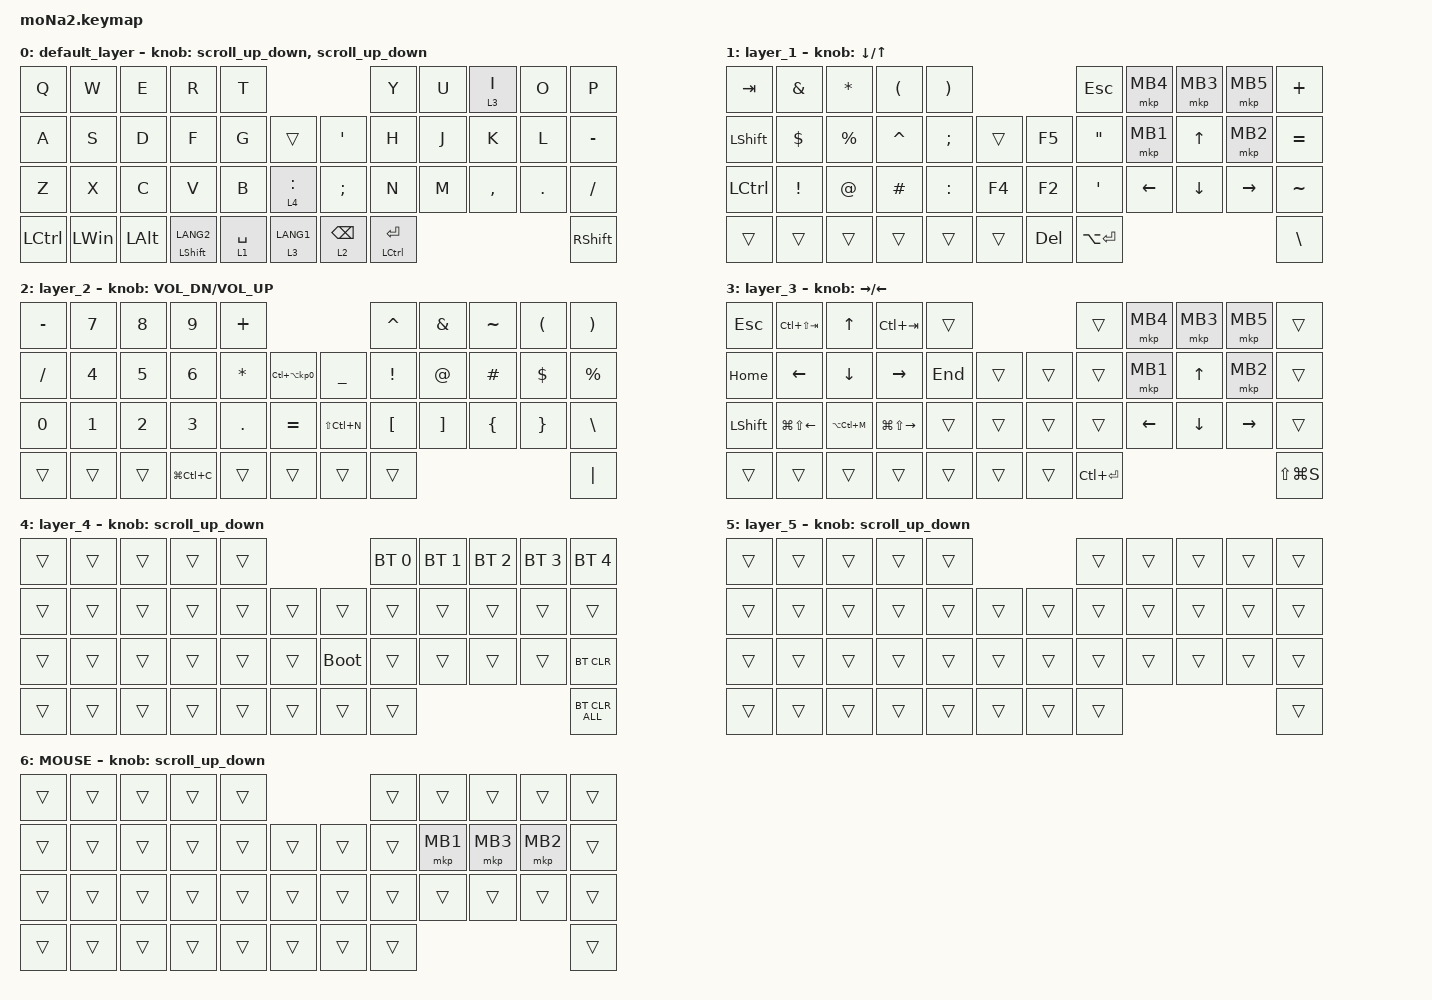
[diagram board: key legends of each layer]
#include <behaviors.dtsi>
#include <dt-bindings/zmk/bt.h>
#include <dt-bindings/zmk/keys.h>
#include <dt-bindings/zmk/pointing.h>

#define ZMK_POINTING_DEFAULT_SCRL_VAL 100
#define MOUSE 6

&mt {
    flavor = "balanced";
    quick-tap-ms = <0>;
};

/ {
    combos { compatible = "zmk,combos"; };

    macros {
        to_layer_0: to_layer_0 {
            compatible = "zmk,behavior-macro-one-param";
            #binding-cells = <1>;
            bindings = <&to 0 &macro_param_1to1 &kp MACRO_PLACEHOLDER>;
            label = "TO_LAYER_0";
        };
    };

    behaviors {
        lt_to_layer_0: lt_to_layer_0 {
            compatible = "zmk,behavior-hold-tap";
            label = "LAYER_TAP_TO_0";
            bindings = <&mo>, <&to_layer_0>;

            #binding-cells = <2>;
            tapping-term-ms = <120>;
        };

        scroll_up_down: behavior_sensor_rotate_mouse_wheel_up_down {
            compatible = "zmk,behavior-sensor-rotate";
            #sensor-binding-cells = <0>;
            bindings = <&msc SCRL_DOWN>, <&msc SCRL_UP>;

            tap-ms = <20>;
        };
    };

    keymap {
        compatible = "zmk,keymap";

        default_layer {
            bindings = <
&kp Q      &kp W         &kp E         &kp R                 &kp T                                        &kp Y            &kp U  &lt 3 I    &kp O    &kp P
&kp A      &kp S         &kp D         &kp F                 &kp G        &trans         &kp SQT          &kp H            &kp J  &kp K      &kp L    &kp MINUS
&kp Z      &kp X         &kp C         &kp V                 &kp B        &lt 4 COLON    &kp SEMICOLON    &kp N            &kp M  &kp COMMA  &kp DOT  &kp SLASH
&kp LCTRL  &kp LEFT_WIN  &kp LEFT_ALT  &mt LEFT_SHIFT LANG2  &lt 1 SPACE  &lt 3 LANG1    &lt 2 BACKSPACE  &mt LCTRL ENTER                             &kp RIGHT_SHIFT
            >;

            sensor-bindings = <&scroll_up_down>, <&scroll_up_down>;
        };

        layer_1 {
            bindings = <
&kp TAB           &kp AMPERSAND    &kp ASTERISK  &kp LEFT_PARENTHESIS  &kp RIGHT_PARENTHESIS                        &kp ESCAPE         &mkp MB4        &mkp MB3        &mkp MB5         &kp PLUS
&kp LEFT_SHIFT    &kp DOLLAR       &kp PERCENT   &kp CARET             &kp SEMICOLON          &trans    &kp F5      &kp DOUBLE_QUOTES  &mkp MB1        &kp UP_ARROW    &mkp MB2         &kp EQUAL
&kp LEFT_CONTROL  &kp EXCLAMATION  &kp AT_SIGN   &kp HASH              &kp COLON              &kp F4    &kp F2      &kp SQT            &kp LEFT_ARROW  &kp DOWN_ARROW  &kp RIGHT_ARROW  &kp TILDE
&trans            &trans           &trans        &trans                &trans                 &trans    &kp DELETE  &kp LA(ENTER)                                                       &kp BACKSLASH
            >;

            sensor-bindings = <&inc_dec_kp DOWN_ARROW UP_ARROW>;
        };

        layer_2 {
            bindings = <
&kp MINUS  &kp N7        &kp N8        &kp N9         &kp PLUS                                                 &kp CARET         &kp AMPERSAND      &kp TILDE       &kp LEFT_PARENTHESIS  &kp RIGHT_PARENTHESIS
&kp SLASH  &kp NUMBER_4  &kp N5        &kp NUMBER_6   &kp ASTERISK  &kp LC(LA(KP_NUMBER_0))    &kp UNDERSCORE  &kp EXCLAMATION   &kp AT_SIGN        &kp HASH        &kp DOLLAR            &kp PERCENT
&kp N0     &kp NUMBER_1  &kp NUMBER_2  &kp NUMBER_3   &kp PERIOD    &kp EQUAL                  &kp LS(LC(N))   &kp LEFT_BRACKET  &kp RIGHT_BRACKET  &kp LEFT_BRACE  &kp RIGHT_BRACE       &kp BACKSLASH
&trans     &trans        &trans        &kp LG(LC(C))  &trans        &trans                     &trans          &trans                                                                     &kp PIPE
            >;

            sensor-bindings = <&inc_dec_kp C_VOL_DN C_VOL_UP>;
        };

        layer_3 {
            bindings = <
&kp ESCAPE      &kp LC(LS(TAB))         &kp UP_ARROW    &kp LC(TAB)              &trans                     &trans         &mkp MB4        &mkp MB3        &mkp MB5         &trans
&kp HOME        &kp LEFT_ARROW          &kp DOWN_ARROW  &kp RIGHT_ARROW          &kp END  &trans    &trans  &trans         &mkp MB1        &kp UP_ARROW    &mkp MB2         &trans
&kp LEFT_SHIFT  &kp LG(LS(LEFT_ARROW))  &kp LA(LC(M))   &kp LG(LS(RIGHT_ARROW))  &trans   &trans    &trans  &trans         &kp LEFT_ARROW  &kp DOWN_ARROW  &kp RIGHT_ARROW  &trans
&trans          &trans                  &trans          &trans                   &trans   &trans    &trans  &kp LC(ENTER)                                                   &kp LS(LG(S))
            >;

            sensor-bindings = <&inc_dec_kp RIGHT_ARROW LEFT_ARROW>;
        };

        layer_4 {
            bindings = <
&trans  &trans  &trans  &trans  &trans                         &bt BT_SEL 0  &bt BT_SEL 1  &bt BT_SEL 2  &bt BT_SEL 3  &bt BT_SEL 4
&trans  &trans  &trans  &trans  &trans  &trans    &trans       &trans        &trans        &trans        &trans        &trans
&trans  &trans  &trans  &trans  &trans  &trans    &bootloader  &trans        &trans        &trans        &trans        &bt BT_CLR
&trans  &trans  &trans  &trans  &trans  &trans    &trans       &trans                                                  &bt BT_CLR_ALL
            >;

            sensor-bindings = <&scroll_up_down>;
        };

        layer_5 {
            bindings = <
&trans  &trans  &trans  &trans  &trans                    &trans  &trans  &trans  &trans  &trans
&trans  &trans  &trans  &trans  &trans  &trans    &trans  &trans  &trans  &trans  &trans  &trans
&trans  &trans  &trans  &trans  &trans  &trans    &trans  &trans  &trans  &trans  &trans  &trans
&trans  &trans  &trans  &trans  &trans  &trans    &trans  &trans                          &trans
            >;

            sensor-bindings = <&scroll_up_down>;
        };

        MOUSE {
            bindings = <
&trans  &trans  &trans  &trans  &trans                    &trans  &trans    &trans    &trans    &trans
&trans  &trans  &trans  &trans  &trans  &trans    &trans  &trans  &mkp MB1  &mkp MB3  &mkp MB2  &trans
&trans  &trans  &trans  &trans  &trans  &trans    &trans  &trans  &trans    &trans    &trans    &trans
&trans  &trans  &trans  &trans  &trans  &trans    &trans  &trans                                &trans
            >;

            sensor-bindings = <&scroll_up_down>;
        };
    };
};
